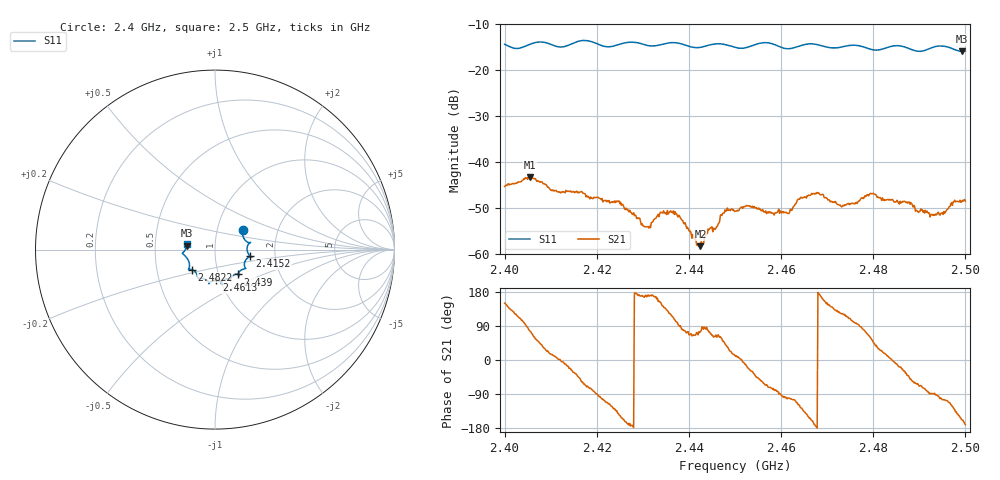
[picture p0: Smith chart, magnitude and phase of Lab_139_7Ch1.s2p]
# Hz S RI R 50
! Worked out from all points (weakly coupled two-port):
!   601 points, 2.4 GHz to 2.5 GHz, reference 50 ohm
!   highest |S21| = -43.25 dB at 2.4055 GHz (marker M1); lowest = -58.3 dB at 2.4425 GHz (marker M2)
!   lowest |S11| = -15.9 dB at 2.4993 GHz (marker M3), VSWR 1.38, Z = 36.3 + j1.62 ohm
!   |S11| at or under -10 dB: start of sweep to end of sweep
!   S12 and S22 are empty: the file has one direction only
!   S11 on the Smith chart (normalised r, x): 2.4 GHz: 1.33, +0.31; 2.4152 GHz: 1.48, -0.11; 2.439 GHz: 1.24, -0.35; 2.4613 GHz: 0.96, -0.34; 2.4822 GHz: 0.76, -0.17; 2.5 GHz: 0.73, +0.05
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2.4e9  0.1553 0.1113  -0.0047 0.00268  0 0  0 0
2.4055e9  0.1871 0.0387  0.00162 0.00669  0 0  0 0
2.410333e9  0.1857 0.0296  0.00481 0.00126  0 0  0 0
2.415167e9  0.1957 -0.0364  0.00387 -0.00255  0 0  0 0
2.416667e9  0.205 -0.0426  0.00258 -0.00402  0 0  0 0
2.424667e9  0.1645 -0.0933  -0.00292 -0.00235  0 0  0 0
2.4305e9  0.1525 -0.1107  -0.00194 0.000351  0 0  0 0
2.433333e9  0.1317 -0.132  -0.00243 0.00117  0 0  0 0
2.4365e9  0.1349 -0.1466  -0.00113 0.00255  0 0  0 0
2.439e9  0.1282 -0.1383  0.000445 0.00207  0 0  0 0
2.4425e9  0.0945 -0.1496  0.000299 0.00117  0 0  0 0
2.447333e9  0.0853 -0.1719  0.00178 0.0021  0 0  0 0
2.45e9  0.0688 -0.1634  0.00284 0.000578  0 0  0 0
2.461333e9  0.00754 -0.1708  -0.000595 -0.0027  0 0  0 0
2.466667e9  -0.0334 -0.1902  -0.00428 -0.00153  0 0  0 0
2.473167e9  -0.0789 -0.1605  -0.00171 0.00276  0 0  0 0
2.479667e9  -0.1046 -0.1309  0.00265 0.00363  0 0  0 0
2.482167e9  -0.1285 -0.112  0.00359 0.00133  0 0  0 0
2.483333e9  -0.1397 -0.1103  0.00381 0.000535  0 0  0 0
2.492833e9  -0.1739 -0.0285  5.11e-05 -0.00269  0 0  0 0
2.499333e9  -0.1585 0.0218  -0.00356 -0.0014  0 0  0 0
2.5e9  -0.158 0.0339  -0.0037 -0.000609  0 0  0 0
